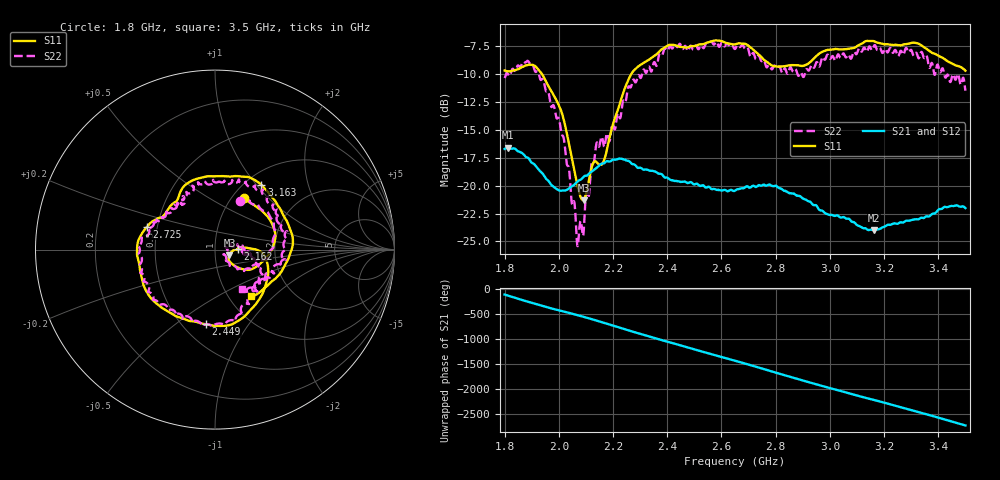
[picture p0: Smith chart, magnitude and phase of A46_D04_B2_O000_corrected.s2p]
! Created with skrf 1.9.0 (http://scikit-rf.org).
# Hz S RI R 50.0
!freq ReS11 ImS11 ReS21 ImS21 ReS12 ImS12 ReS22 ImS22
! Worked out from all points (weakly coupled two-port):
!   1601 points, 1.8 GHz to 3.5 GHz, reference 50 ohm
!   highest |S21| = -16.59 dB at 1.812 GHz (marker M1); lowest = -24.0 dB at 3.162 GHz (marker M2)
!   lowest |S11| = -21.3 dB at 2.091 GHz (marker M3), VSWR 1.19, Z = 58.7 - j3.53 ohm
!   |S11| at or under -10 dB: 1.938 GHz to 2.267 GHz (328.7 MHz wide, 15.6 % of centre)
!   |S22| runs from -25.4 to -7.0 dB; largest |S21 - S12| = 0.0024
!   S11 on the Smith chart (normalised r, x): 1.8 GHz: 1.14, +0.73; 2.162 GHz: 1.29, +0.01; 2.449 GHz: 0.65, -0.65; 2.725 GHz: 0.44, +0.13; 3.163 GHz: 1.18, +1.06; 3.5 GHz: 1.26, -0.73
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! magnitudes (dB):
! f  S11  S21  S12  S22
! 1.8 GHz  -9.7  -16.7  -16.7  -10.3
! 1.812 GHz  -9.7  -16.6  -16.6  -10.0
! 1.883 GHz  -9.2  -17.5  -17.5  -8.8
! 1.942 GHz  -10.2  -19.0  -19.0  -10.5
! 2.011 GHz  -13.5  -20.4  -20.4  -15.4
! 2.067 GHz  -19.7  -19.7  -19.7  -25.0
! 2.084 GHz  -21.2  -19.4  -19.4  -23.5
! 2.091 GHz  -21.3  -19.2  -19.2  -24.3
! 2.128 GHz  -17.9  -18.6  -18.6  -17.9
! 2.162 GHz  -18.0  -18.0  -17.9  -15.9
! 2.261 GHz  -10.3  -17.8  -17.8  -11.1
! 2.367 GHz  -8.1  -18.9  -18.8  -8.5
! 2.449 GHz  -7.6  -19.7  -19.7  -7.3
! 2.65 GHz  -7.3  -20.4  -20.4  -7.7
! 2.725 GHz  -8.0  -20.1  -20.1  -8.6
! 2.799 GHz  -9.3  -20.0  -20.0  -9.3
! 2.934 GHz  -8.8  -21.6  -21.6  -9.2
! 3.162 GHz  -7.0  -24.0  -24.0  -7.5
! 3.163 GHz  -7.0  -24.0  -24.0  -7.4
! 3.217 GHz  -7.3  -23.5  -23.5  -7.9
! 3.343 GHz  -7.5  -22.9  -22.9  -8.2
! 3.5 GHz  -9.7  -22.0  -22.0  -11.5
